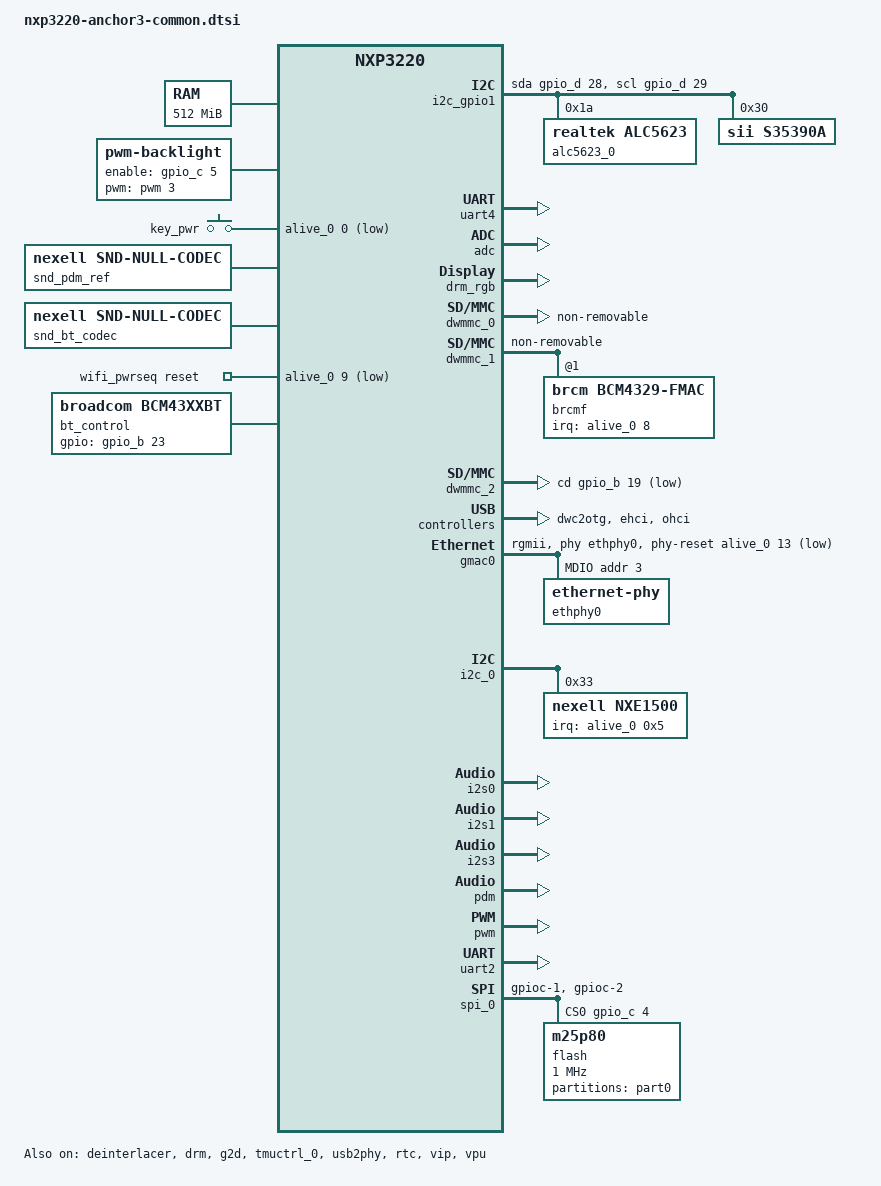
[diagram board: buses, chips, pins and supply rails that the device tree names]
// SPDX-License-Identifier: (GPL-2.0+ OR MIT)
/*
 * Copyright (C) 2019  DIGNSYS Inc.
 * Author: Hyobok, Ahn <hbahn@dignsys.com>
 */

/dts-v1/;

#include <dt-bindings/gpio/gpio.h>
#include <dt-bindings/input/input.h>
#include "nxp3220.dtsi"

#define PMIC_PDATA_INIT(_id, _rname, _minuv,		\
                        _maxuv, _init_uv, _init_enable,	\
                        _set_init_uV, _slp_slots)	\
                regulator-name = _rname;                \
                regulator-min-microvolt = <_minuv>;     \
                regulator-max-microvolt = <_maxuv>;     \
                nx,id = <_id>;                          \
                nx,init_enable = <_init_enable>;        \
                nx,init_uV = <_init_uv>;                \
                nx,set_init_uV = <_set_init_uV>;        \
                nx,sleep_slots = <_slp_slots>;

/ {
	compatible = "dignsys,nxp3220-anchor3", "nexell,nxp3220";

	chosen {
		stdout-path = &uart2;
	};

	memory@40000000 {
		device_type = "memory";
		reg = <0x40000000 0x20000000>;
	};

	reserved-memory {
		#address-cells = <1>;
		#size-cells = <1>;
		ranges;

		bl32_mem: bl32_mem@5f000000 {
			reg = <0x5f000000 0x1000000>;
			no-map;
		};
	};

	backlight: pwm-backlight {
		compatible = "pwm-backlight";
		pwms = <&pwm 3 20000 1>;
		pwm-names = "pwm-backlight";
		enable-gpios = <&gpio_c 5 GPIO_ACTIVE_HIGH>;

		brightness-levels = <30 31 32 33 34 35 36 37 38 39
				40 41 42 43 44 45 46 47 48 49
				50 51 52 53 54 55 56 57 58 59
				60 61 62 63 64 65 66 67 68 69
				70 71 72 73 74 75 76 77 78 79
				80 81 82 83 84 85 86 87 88 89
				90>;
		default-brightness-level = <60>;
		status = "ok";
	};

	gpio_keys {
		compatible = "gpio-keys";
		#address-cells = <1>;
		#size-cells = <0>;
		pinctrl-names = "default";
		pinctrl-0 = <&key_pwr>;

		button@pwr {
			label = "key_pwr";
			gpios = <&alive_0 0 GPIO_ACTIVE_LOW>;
			linux,code = <KEY_POWER>;
			gpio-key,wakeup;
		};
	};

	i2c_gpio1: i2c@1 {
		compatible = "i2c-gpio";
		gpios = <&gpio_d 28 0 /* sda */
			&gpio_d 29 0 /* scl */>;
		i2c-gpio,delay-us = <2>;
		#address-cells = <1>;
		#size-cells = <0>;

		alc5623_0: alc5623@1a {
			#sound-dai-cells = <0>;
			compatible = "realtek,alc5623";
			reg = <0x1a>;
		};

		/* RTC provided by Seiko S-35390A I2C RTC chip */
		s35390a: s35390a@30 {
			status = "okay";
			compatible = "sii,s35390a";
			reg = <0x30>;
		};
	};

	i2c_gpio2: i2c@2 {
		compatible = "i2c-gpio";
		gpios = <&gpio_b 29 0 /* sda */
			&gpio_b 30 0 /* scl */>;
		i2c-gpio,delay-us = <2>;
		#address-cells = <1>;
		#size-cells = <0>;
	};

	snd_pdm_ref:snd_ref_pdm@0 {
		#sound-dai-cells = <0>;
		compatible = "nexell,snd-null-codec";
		status = "okay";
	};

	snd_bt_codec:snd_bt_codec@0 {
		#sound-dai-cells = <0>;
		compatible = "nexell,snd-null-codec";
		status = "okay";
	};

	sound0: sound0 {
		compatible = "simple-audio-card";
		simple-audio-card,name = "nxp3220 Audio Card ALC5623 0";
		status = "okay";

		simple-audio-card,dai-link@0 {
			mclk-fs = <256>;
			format = "i2s";
			frame-master = <&sndcpu0>;
			bitclock-master = <&sndcpu0>;

			sndcpu0: cpu  {
				sound-dai = <&i2s0 0>;
			};

			sndcodec0: codec {
				sound-dai = <&alc5623_0>;
			};
		};
	};

	sound1: sound1 {
		compatible = "simple-audio-card";
		simple-audio-card,name = "nxp3220 Audio Card ALC5623 1";
		status = "okay";

		simple-audio-card,dai-link@0 {
			mclk-fs = <256>;
			format = "i2s";
			frame-master = <&sndcpu1>;
			bitclock-master = <&sndcpu1>;

			sndcpu1: cpu  {
				sound-dai = <&i2s1 0>;
			};

			sndcodec1: codec {
				sound-dai = <&alc5623_1>;
			};
		};
	};

	sound2: sound2 {
		compatible = "simple-audio-card";
		simple-audio-card,name = "nxp3220 blutooth hs sco";
		status = "disabled";

		simple-audio-card,dai-link@0 {
			mclk-fs = <256>;
			format = "i2s";
			frame-master = <&sndcodec2>;
			bitclock-master = <&sndcodec2>;

			sndcpu2: cpu  {
				sound-dai = <&i2s2 0>;
			};

			sndcodec2: codec {
				sound-dai = <&snd_bt_codec>;
			};
		};
	};

	/* PDM Reference IIS */
	sound3: sound3 {
		compatible = "simple-audio-card";
		simple-audio-card,name = "nxp3220 PDM Reference I2S";
		status = "disabled";

		simple-audio-card,dai-link@0 {
			mclk-fs = <256>;
			format = "i2s";
			frame-master = <&sndcodec2>;
			bitclock-master = <&sndcodec2>;

			sndcpu3: cpu  {
				sound-dai = <&i2s3 0>;
			};

			sndcodec3: codec {
				sound-dai = <&snd_pdm_ref>;
			};
		};
	};

	sound-pdm {
		status = "disabled";
		compatible = "nexell,nxp3220-pdm-card";
		snd-controller = <&pdm>;
	};

	thermal-zones {
		cpu_thermal: cpu-thermal {
			thermal-sensors = <&tmuctrl_0>;
			polling-delay-passive = <1000>;
			polling-delay = <1000>;
			trips {
				cpu_alert0: cpu-alert-0 {
					temperature = <40000>;
					hysteresis = <10000>;
					type = "passive";
				};
				cpu_alert1: cpu-alert-1 {
					temperature = <50000>;
					hysteresis = <10000>;
					type = "passive";
				};
				cpu_alert2: cpu-alert-2 {
					temperature = <55000>;
					hysteresis = <10000>;
					type = "passive";
				};
				cpu-crit-0 {
					temperature = <100000>;
					hysteresis = <10000>;
					type = "critical";
				};
			};
		};
	};

	nx-v4l2 {
		status = "okay";
	};

	wifi_pwrseq: wifi-pwrseq {
		compatible = "mmc-pwrseq-simple";
		reset-gpios = <&alive_0 9 GPIO_ACTIVE_LOW>;
	};

	bt_control {
		compatible = "broadcom,bcm43xxbt";
		gpios = <&gpio_b 23 0>;   /* GPIOB23 = BT_REG_ON, output */
		pinctrl-names = "bt reg on";
		pinctrl-0 = <&bt_reg_on>;
		status = "okay";
        };
};

&uart4 {
	pinctrl-0 = <&uart4_bus>, <&uart4_hflow>;
	pinctrl-names = "default";

	status = "okay";
};

&adc {
	touchscreen-enable;
	ts-sample-time = <4>;
	status = "okay";
};

&deinterlacer {
	status = "okay";
};

&drm {
	status = "okay";

	/* get clock from cmu_ddr (800Mhz) */
	assigned-clocks = <&cmu CLK_SRC_DPC0_X2>,
       			<&cmu_mm CLK_MM_DPC_AXI>,
			<&pll_0 0>;
	assigned-clock-parents = <&pll_ddr0_div 0>, <0>, <0>;
	assigned-clock-rates = <0>, <333333334>, <0>;
	color-key-disable;
	video-scale-hfilter-max = <1>;
	video-scale-vfilter-max = <1>;
};

&drm_rgb {
	status = "okay";
	backlight = <&backlight>;
	backlight-delay = <100>;
	enable-gpios = <&gpio_e 0 GPIO_ACTIVE_HIGH>;

	display-config {
		out-format = <3>;
	};

	/* EJ050NA-01g */
	display-timing {
		clock-frequency = <17774000>;	/* 33MHz */
		hactive = <800>;
		hfront-porch = <210>;
		hback-porch = <46>;
		hsync-len = <4>;
		vactive = <480>;
		vfront-porch = <22>;
		vback-porch = <23>;
		vsync-len = <2>;
		hsync-active = <1>;
		vsync-active = <1>;
		de-active = <1>;
	};
};


&m_can1 {
	status = "disabled";
};

&dwmmc_0 {
	cap-mmc-highspeed;
	broken-cd;
	non-removable;
	nexell,drive_shift = <0x04>;
	nexell,sample_shift = <0x04>;
	card-detect-delay = <200>;
	disable-wp;
	status = "okay";
};

&dwmmc_1 {
	pinctrl-0 = <&rtc_out>;
	pinctrl-names = "default";
	mmc-pwrseq = <&wifi_pwrseq>;

	cap-sd-highspeed;
	mmc-ddr-3_3v;
	broken-cd;
	non-removable;
	nexell,drive_shift = <0x04>;
	nexell,sample_shift = <0x04>;
	disable-wp;

	clock-frequency = <400000000>;
	status = "okay";

	brcmf: wifi@1 {
		reg = <1>;
		compatible = "brcm,bcm4329-fmac";
		interrupt-parent = <&alive_0>;
		interrupts = <8 IRQ_TYPE_LEVEL_LOW>; /* alive_0 8 */
		interrupt-names = "host-wake";
	};
};

&dwmmc_2 {
	cap-sd-highspeed;
	cd-gpios = <&gpio_b 19 0>;
	cd-inverted;
	nexell,drive_shift = <0x04>;
	nexell,sample_shift = <0x04>;
	card-detect-delay = <200>;
	disable-wp;
	status = "okay";
};

&dwc2otg {
	status = "okay";
	pinctrl-0 = <&otg_vbus_en>;
	pinctrl-names = "default";
	nouse_idcon = <1>;
};

&ehci {
	status = "okay";
};

&g2d {
	status = "okay";
};

&gmac0 {
	status = "okay";
	phy-mode = "rgmii";
	phy-handle = <&ethphy0>;
	phy-reset-gpios = <&alive_0 13 GPIO_ACTIVE_LOW>;
	phy-intr-gpios = <&gpio_a 13 GPIO_ACTIVE_LOW>;
	phy-pme-gpios = <&alive_0 6 GPIO_ACTIVE_LOW>;

	mdio@3 {
		#address-cells = <1>;
		#size-cells = <0>;

		ethphy0: ethernet-phy@3 {
			reg = <3>;
		};
	};
};

&ohci {
	status = "okay";
};

&i2c_0 {
	status = "okay";
	#address-cells = <1>;
	#size-cells = <0>;

	nxe1500: nxe1500@33 {
		compatible = "nexell,nxe1500";
		interrupt-parent = <&alive_0>;
		interrupts = <0x5 IRQ_TYPE_EDGE_FALLING>;
		pinctrl-names = "default";
		pinctrl-0 = <&pmic_irq>;
		reg = <0x33>;

		regulators {
			VCC_DCDC0: dcdc1 {
					PMIC_PDATA_INIT( 0,
					"nxe1500_dcdc1",
					1000000, 1200000,
					1100000, 1, 0, 0x4)
					regulator-always-on;
					regulator-boot-on;
				};

			VCC_DCDC1: dcdc2 {
					PMIC_PDATA_INIT( 1,
					"nxe1500_dcdc2",
					975000, 1000000,
					1000000, 1, 0, 0x4)
					regulator-always-on;
					regulator-boot-on;
				};

			VCC_DCDC2: dcdc3 {
					PMIC_PDATA_INIT( 2,
					"nxe1500_dcdc3",
					1500000, 1500000,
					1500000, 1, 0, 0xF)
					regulator-always-on;
					regulator-boot-on;
				};

			VCC_DCDC3: dcdc4 {
					PMIC_PDATA_INIT( 3,
					"nxe1500_dcdc4",
					1500000, 1500000,
					1500000, 1, 0, 0xF)
					regulator-always-on;
					regulator-boot-on;
				};

			VCC_LDO0: ldo1 {
					PMIC_PDATA_INIT( 5,
					"nxe1500_ldo1",
					3300000, 3300000,
					3300000, 1, 0, 0x2)
					regulator-boot-on;
				};

			VCC_LDO1: ldo2 {
					PMIC_PDATA_INIT( 6,
					"nxe1500_ldo2",
					1800000, 1800000,
					1800000, 1, 0, 0x3)
					regulator-boot-on;
				};

			VCC_LDO2: ldo3 { PMIC_PDATA_INIT( 7,
					"nxe1500_ldo3",
					3300000, 3300000,
					3300000, 1, 0, 0x2)
					regulator-always-on;
					regulator-boot-on;
				};

			VCC_LDO3: ldo4 {
					PMIC_PDATA_INIT( 8,
					"nxe1500_ldo4",
					1500000, 1500000,
					1500000, 1, 0, 0x3)
					regulator-always-on;
					regulator-boot-on;
				};

			VCC_LDO4: ldo5 {
					PMIC_PDATA_INIT( 9,
					"nxe1500_ldo5",
					1000000, 1000000,
					1000000, 1, 0, 0x4)
					regulator-boot-on;
				};

			VCC_RTC0: ldortc1 {
					PMIC_PDATA_INIT(15,
					"nxe1500_rtc1",
					1700000, 3500000,
					1800000, 1, 1, 0xF)
					regulator-always-on;
					regulator-boot-on;
				};

			VCC_RTC1: ldortc2 {
					PMIC_PDATA_INIT(16,
					"nxe1500_rtc2",
					1000000, 3500000,
					1000000, 1, 1, 0xF)
					regulator-always-on;
					regulator-boot-on;
				};

		}; /* regulators */
	}; /* nxe1500@33 */
}; /* &i2c_0 */

&i2c_gpio2 {
	status = "disabled";
	#address-cells = <1>;
	#size-cells = <0>;

	alc5623_1: alc5623@1a {
		#sound-dai-cells = <0>;
		compatible = "realtek,alc5623";
		reg = <0x1a>;
	};

	tca9535: tca9535@20 {
		compatible = "tca9535-key";
		#address-cells = <1>;
		#size-cells = <0>;
		reg = <0x20>;
		interrupt-parent = <&gpio_c>;
		interrupts = <17 GPIO_ACTIVE_LOW>;
		ports = <5 6 7>;

		button@1 {
			label = "key1";
			linux,input-type = <EV_KEY>;
			linux,code = <KEY_1>;
		};

		button@2 {
			label = "key2";
			linux,input-type = <EV_KEY>;
			linux,code = <KEY_2>;
		};

		button@3 {
			label = "key3";
			linux,input-type = <EV_KEY>;
			linux,code = <KEY_3>;
		};
	};
};

&i2c_2 { /* ipod */
	#address-cells = <1>;
	#size-cells = <0>;
	status = "disabled";

	rate = <400000>;
	retry-delay = <500>;
	retry-cnt = <10>;

	ipod: ipod@10 {
		#sound-dai-cells = <0>;
		compatible = "fms,ipod";
		reg = <0x10>;
		rst-gpios = <&gpio_d 9 0>;
	};
};

&i2s0 {
	frame-bit = <32>;
	supply-mclk-always;
	status = "okay";
};

&i2s1 {
	frame-bit = <32>;
	supply-mclk-always;
	status = "okay";
};

&i2s2 {
	status = "disabled";
};

/* PDM Reference IIS */
&i2s3 {
	frame-bit = <32>;
	sample-rate = <48000>;
	status = "okay";
};

&i2s3_bus {
	nexell,pins = "gpioc-8", "gpioc-12";
	nexell,pin-pull = <NX_PIN_PULL_UP>;
};

&pdm {
	ref-iis = <3>;
	sample-rate = <16000>;
	status = "okay";
};

&pinctrl_0 {
	key_pwr: key-pwr {
		nexell,pins = "alive-0";
		nexell,pin-function = <NX_PIN_FUNC0>;
		nexell,pin-pull = <NX_PIN_PULL_UP>;
		nexell,pin-strength = <NX_PIN_STR0>;
	};

	pmic_irq: nxe1500-irq {
		nexell,pins = "alive-1";
		nexell,pin-function = <NX_PIN_FUNC0>;
		nexell,pin-pull = <NX_PIN_PULL_NONE>;
		nexell,pin-strength = <NX_PIN_STR0>;
	};

	spi0_wp: spi0-wp {
		nexell,pins = "gpioc-1";
		nexell,pin-function = <NX_PIN_FUNC0>;
		nexell,pin-pull = <NX_PIN_PULL_UP>;
		nexell,pin-strength = <NX_PIN_STR0>;
	};

	spi0_hold: spi0-hold {
		nexell,pins = "gpioc-2";
		nexell,pin-function = <NX_PIN_FUNC0>;
		nexell,pin-pull = <NX_PIN_PULL_UP>;
		nexell,pin-strength = <NX_PIN_STR0>;
	};

	bt_reg_on: bt_reg_on {
		nexell,pins = "gpiob-23";
		nexell,pin-function = <NX_PIN_FUNC0>;
		nexell,pin-pull = <NX_PIN_PULL_NONE>;
		nexell,pin-strength = <NX_PIN_STR0>;
	};
};

&pwm {
	nexell,pwm-outputs = <3>;
	tclk_freq = <100000000>;
	pinctrl-names = "default";
	pinctrl-0 = <&pwm3_pin>;
	status = "okay";
};

&tmuctrl_0 {
	status = "okay";
};

&uart2 {
	status = "okay";
};

&usb2phy {
	status = "okay";
};

&rtc {
	status = "okay";
};

&vip {
	status = "okay";
};

&vpu {
	status = "okay";
};

&spi_0 {
	status = "okay";
	pinctrl-0 = <&spi0_bus>, <&spi0_wp>, <&spi0_hold>;
	cs-gpios = <&gpio_c 4 0>;

	flash: m25p80 {
		#address-cells = <1>;
		#size-cells = <1>;
		compatible = "m25p80", "jedec,spi-nor";
		reg = <0>;
		spi-max-frequency = <1000000>;
		disable-4byte-address;
		m25p,fast-read;
		spi-cpol;
		spi-cpha;

		partition@0 {
			label = "part0";
			reg = <0x500000 0x7b00000>;
		};
	};
};
